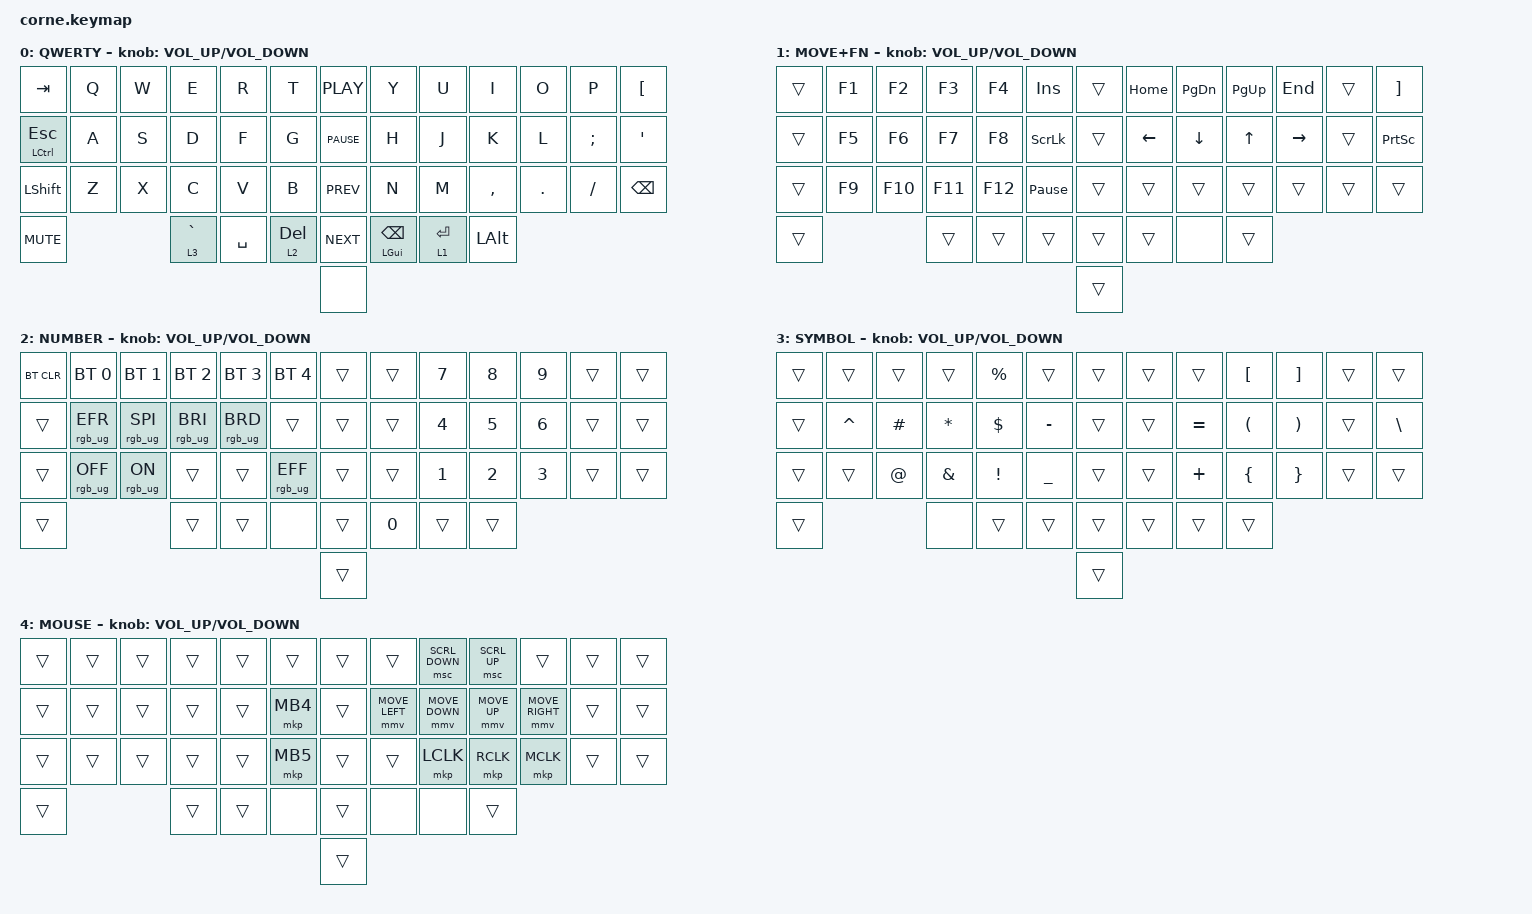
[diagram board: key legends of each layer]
#include <behaviors/mouse_keys.dtsi>
#include <behaviors.dtsi>
#include <dt-bindings/zmk/bt.h>
#include <dt-bindings/zmk/keys.h>
#include <dt-bindings/zmk/mouse.h>
#include <dt-bindings/zmk/outputs.h>
#include <dt-bindings/zmk/rgb.h>

#define ZMK_MOUSE_DEFAULT_MOVE_VAL 1200  // 600
#define ZMK_MOUSE_DEFAULT_SCRL_VAL 20    // 10
#define U_MS_U &mmv MOVE_UP
#define U_MS_D &mmv MOVE_DOWN
#define U_MS_L &mmv MOVE_LEFT
#define U_MS_R &mmv MOVE_RIGHT

/ {
    behaviors {
        td0: td0 {
            compatible = "zmk,behavior-tap-dance";
            label = "TD0";
            #binding-cells = <0>;
            bindings = <&kp LEFT_SHIFT>, <&kp CAPS>;
        };

        mmv {
            acceleration-exponent = <1>;      // 1
            time-to-max-speed-ms = <900>;    // 40
            delay-ms = <0>;                   // 0
        };

        msc {
            acceleration-exponent = <1>;      // 0
            time-to-max-speed-ms = <400>;      // 500
            delay-ms = <0>;                   // 10
        };
    };

    conditional_layers {
        compatible = "zmk,conditional-layers";
        tri_layer {
            if-layers = <1 2>;
            then-layer = <4>;
        };      
    };

    rgb_encoder: rgb_encoder {
        compatible = "zmk,behavior-sensor-rotate";
        label = "RGB_ENCODER";
        #sensor-binding-cells = <0>;
        bindings = <&rgb_ug RGB_BRI>, <&rgb_ug RGB_BRD>;
    };

    scroll_encoder: scroll_encoder {
        compatible = "zmk,behavior-sensor-rotate";
        #sensor-binding-cells = <0>;
        bindings = <&msc SCRL_DOWN>, <&msc SCRL_UP>;

        tap-ms = <30>;
    };

    keymap {
        compatible = "zmk,keymap";

        default_layer {
            display-name = "QWERTY";
// TODO yep
            // ---------------------------------------------------------------------------------------------------------
            // | TAB        | Q | W |  E  |   R    |  T  |                PLAY    |   Y   |   U   |  I   | O | P |  [  |
            // | CTRL / ESC | A | S |  D  |   F    |  G  |                PAUSE   |   H   |   J   |  K   | L | ; |  '  |
            // | SHIFT      | Z | X |  C  |   V    |  B  | VOL_UP         PREV    |   N   |   M   |  ,   | . | / | GUI |
            // ---------------------| ALT | L2/DEL | SPC | VOL_D          NEXT    | L1/BS | ENTER | L3/~ |--------------
            //                      ---------------------- MUTE           NONE    ------------------------

            bindings = <
&kp TAB       &kp Q &kp W &kp E       &kp R     &kp T        &kp C_PLAY     &kp Y          &kp U       &kp I       &kp O   &kp P    &kp LBKT
&mt LCTRL ESC &kp A &kp S &kp D       &kp F     &kp G        &kp C_PAUSE    &kp H          &kp J       &kp K       &kp L   &kp SEMI &kp SQT
&kp LSHIFT    &kp Z &kp X &kp C       &kp V     &kp B        &kp C_PREV     &kp N          &kp M       &kp COMMA   &kp DOT &kp FSLH &kp BSPC
&kp C_MUTE                &lt 3 GRAVE &kp SPACE &lt 2 DEL    &kp C_NEXT     &mt LGUI BSPC  &lt 1 ENTER &kp LALT
                                                             &none
            >;

            label = "QWERTY";
            sensor-bindings = <&inc_dec_kp C_VOLUME_UP C_VOLUME_DOWN>;
        };

        raise_layer {
            display-name = "MOVE+FN";
            // TODO fix comment help
            // ------------------------------------------------------------------------------------------------------------------
            // | TAB        | F1 | F2  | F3  |   F4   |  T  |                PLAY    | HOME | PG_UP | PG_D |  END  | INS |  ]   |
            // | CTRL / ESC | F5 | F6  | F7  |   F8   |  G  |                PAUSE   | LEFT |   UP  | DOWN | RIGHT |  ;  | PRSC |
            // | SHIFT      | F9 | F10 | F11 |   F12  |  B  | VOL_UP         PREV    |  N   |   M   |  ,   |   .   |  /  | GUI  |
            // ------------------------| ALT | L2/DEL | SPC | VOL_D          NEXT    | NONE | ENTER | L4/~ |---------------------
            //                         ---------------------- MUTE           NONE    -----------------------

            bindings = <
&trans &kp F1 &kp F2  &kp F3  &kp F4  &kp INS         &trans    &kp HOME &kp PG_DN &kp PG_UP &kp END   &trans &kp RBKT
&trans &kp F5 &kp F6  &kp F7  &kp F8  &kp SLCK        &trans    &kp LEFT &kp DOWN    &kp UP    &kp RIGHT &trans &kp PSCRN
&trans &kp F9 &kp F10 &kp F11 &kp F12 &kp PAUSE_BREAK &trans    &trans   &trans      &trans    &trans    &trans &trans
&trans                &trans  &trans  &trans          &trans    &trans    &none      &trans
                                                      &trans
            >;
            label = "MOVE+FN";
            sensor-bindings = <&inc_dec_kp C_VOLUME_UP C_VOLUME_DOWN>;
        };


        lower_layer {
            display-name = "NUMBER";
            // TODO fix comment help
            // -----------------------------------------------------------------------------------------
            // |  TAB |  1  |  2  |  3  |  4  |  5  |   |  6  |  7  |  8  |  9  |  0  | BKSP |
            // | BTCLR| BT1 | BT2 | BT3 | BT4 | BT5 |   | LFT | DWN |  UP | RGT |     |      |
            // | SHFT |     |     |     |     |     |   |     |     |     |     |     |      |
            //                    | GUI |     | SPC |   | ENT |     | ALT |

            bindings = <
&bt BT_CLR &bt BT_SEL 0    &bt BT_SEL 1    &bt BT_SEL 2    &bt BT_SEL 3    &bt BT_SEL 4    &trans  &trans &kp N7 &kp N8 &kp N9 &trans &trans
&trans         &rgb_ug RGB_EFR &rgb_ug RGB_SPI &rgb_ug RGB_BRI &rgb_ug RGB_BRD &trans          &trans  &trans &kp N4 &kp N5 &kp N6 &trans &trans
&trans         &rgb_ug RGB_OFF &rgb_ug RGB_ON  &trans          &trans          &rgb_ug RGB_EFF &trans  &trans &kp N1 &kp N2 &kp N3 &trans &trans       
&trans                                         &trans          &trans          &none           &trans  &kp N0 &trans &trans
                                                                                               &trans
            >;

            label = "NUMBER";
            sensor-bindings = <&inc_dec_kp C_VOLUME_UP C_VOLUME_DOWN>;
        };

        third_layer {
            display-name = "SYMBOL";
            // TODO fix comment help me
            // -----------------------------------------------------------------------------------------
            // |  TAB |  !  |  @  |  #  |  $  |  %  |   |  ^  |  &  |  *  |  (  |  )  | BKSP |
            // | CTRL |     |     |     |     |     |   |  -  |  =  |  [  |  ]  |  \  |  `   |
            // | SHFT |     |     |     |     |     |   |  _  |  +  |  {  |  }  | "|" |  ~   |
            //                    | GUI |     | SPC |   | ENT |     | ALT |

            bindings = <
&trans  &trans    &trans   &trans   &kp PERCENT &trans    &trans  &trans &trans    &kp LBKT &kp RBKT &trans &trans
&trans  &kp CARET &kp HASH &kp STAR &kp DOLLAR  &kp MINUS &trans  &trans &kp EQUAL &kp LPAR &kp RPAR &trans &kp BSLH
&trans  &trans    &kp AT   &kp AMPS &kp EXCL    &kp UNDER &trans  &trans &kp PLUS  &kp LBRC &kp RBRC &trans &trans
&trans                     &none    &trans      &trans    &trans  &trans &trans    &trans
                                                          &trans
            >;

            label = "SYMBOL";
            sensor-bindings = <&inc_dec_kp C_VOLUME_UP C_VOLUME_DOWN>;
        };

        mouse_layer {
            display-name = "MOUSE";
            bindings = <
&trans &trans &trans &trans &trans &trans      &trans    &trans         &msc SCRL_DOWN &msc SCRL_UP &trans          &trans  &trans
&trans &trans &trans &trans &trans &mkp MB4    &trans    &mmv MOVE_LEFT &mmv MOVE_DOWN &mmv MOVE_UP &mmv MOVE_RIGHT &trans  &trans
&trans &trans &trans &trans &trans &mkp MB5    &trans    &trans         &mkp LCLK      &mkp RCLK    &mkp MCLK       &trans  &trans
&trans               &trans &trans &none       &trans    &none          &none          &trans
                                               &trans
            >;

            label = "MOUSE";
            sensor-bindings = <&inc_dec_kp C_VOLUME_UP C_VOLUME_DOWN>;
        };
    };
};
